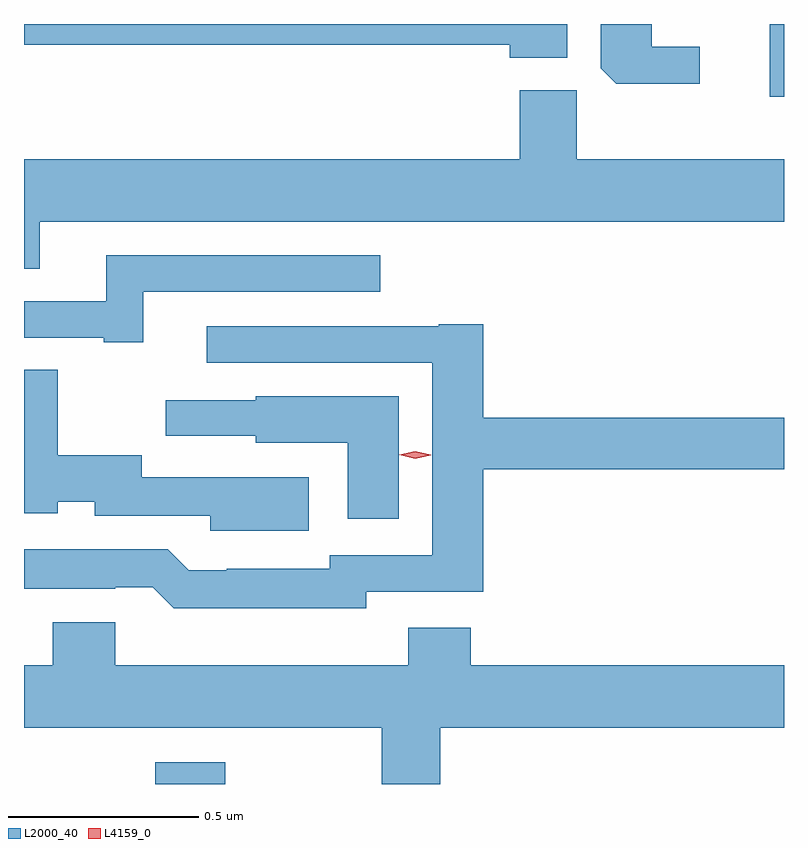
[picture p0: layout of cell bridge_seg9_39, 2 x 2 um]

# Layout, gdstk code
import gdstk
lib = gdstk.Library(unit=1e-6, precision=1e-09)
def R(c, l, rs):  # rectangles x0, y0, x1, y1
    for r in rs: c.add(gdstk.rectangle(r[:2], r[2:], *l))
def P(c, l, *ps):  # polygons
    for p in ps: c.add(gdstk.Polygon(p, *l))
L2000_40 = (2000, 40)
L4159_0 = (4159, 0)

bridge_seg9_39 = lib.new_cell('bridge_seg9_39')
R(bridge_seg9_39, L2000_40, [(925.427,1190.944,925.612,1191.001), (927.044,1192.752,927.082,1192.944)])
P(bridge_seg9_39, L2000_40, [(926.512,1192.944),(925.082,1192.944),(925.082,1192.89),(926.36,1192.89),(926.36,1192.855),(926.512,1192.855)],
  [(926.86,1192.884),(926.734,1192.884),(926.734,1192.944),(926.6,1192.944),(926.6,1192.828),(926.641,1192.787),(926.86,1192.787)],
  [(925.123,1192.424),(927.082,1192.424),(927.082,1192.588),(926.537,1192.588),(926.537,1192.77),(926.387,1192.77),(926.387,1192.588),(925.082,1192.588),(925.082,1192.3),(925.123,1192.3)],
  [(925.396,1192.239),(926.02,1192.239),(926.02,1192.335),(925.298,1192.335),(925.298,1192.215),(925.082,1192.215),(925.082,1192.119),(925.292,1192.119),(925.292,1192.107),(925.396,1192.107)],
  [(925.983,1191.45),(926.291,1191.45),(926.291,1191.772),(927.082,1191.772),(927.082,1191.908),(926.291,1191.908),(926.291,1192.154),(926.174,1192.154),(926.174,1192.149),(925.563,1192.149),(925.563,1192.053),(926.156,1192.053),(926.156,1191.546),(925.887,1191.546),(925.887,1191.511),(925.615,1191.511),(925.615,1191.507),(925.515,1191.507),(925.46,1191.562),(925.082,1191.562),(925.082,1191.458),(925.322,1191.458),(925.322,1191.462),(925.421,1191.462),(925.476,1191.407),(925.983,1191.407)],
  [(925.831,1191.751),(925.392,1191.751),(925.392,1191.809),(925.171,1191.809),(925.171,1192.034),(925.082,1192.034),(925.082,1191.656),(925.171,1191.656),(925.171,1191.687),(925.268,1191.687),(925.268,1191.65),(925.572,1191.65),(925.572,1191.611),(925.831,1191.611)],
  [(926.068,1191.964),(925.692,1191.964),(925.692,1191.954),(925.455,1191.954),(925.455,1191.861),(925.692,1191.861),(925.692,1191.842),(925.934,1191.842),(925.934,1191.642),(926.068,1191.642)],
  [(926.177,1191.092),(927.082,1191.092),(927.082,1191.256),(926.258,1191.256),(926.258,1191.355),(926.093,1191.355),(926.093,1191.256),(925.322,1191.256),(925.322,1191.37),(925.157,1191.37),(925.157,1191.256),(925.082,1191.256),(925.082,1191.092),(926.024,1191.092),(926.024,1190.944),(926.177,1190.944)])
P(bridge_seg9_39, L4159_0, [(926.111,1191.8),(926.07,1191.811),(926.07,1191.811),(926.07,1191.811),(926.111,1191.82),(926.152,1191.81),(926.152,1191.81),(926.152,1191.809)])

lib.write_gds('bridge_seg9_39.gds')
